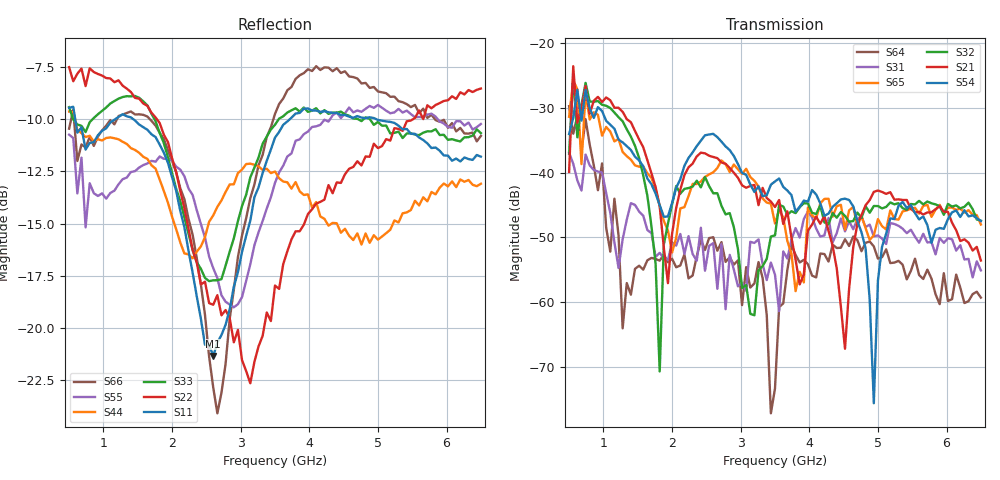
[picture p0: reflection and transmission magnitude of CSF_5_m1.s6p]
!Keysight Technologies,M9804A,MY58100912,A.14.10.03
!Date: Thursday, April 27, 2023 10:28:33
!Correction: S11(C  6-Port  )
!S12(C  6-Port  )
!S13(C  6-Port  )
!S14(C  6-Port  )
!S15(C  6-Port  )
!S16(C  6-Port  )
!S21(C  6-Port  )
!S22(C  6-Port  )
!S23(C  6-Port  )
!S24(C  6-Port  )
!S25(C  6-Port  )
!S26(C  6-Port  )
!S31(C  6-Port  )
!S32(C  6-Port  )
!S33(C  6-Port  )
!S34(C  6-Port  )
!S35(C  6-Port  )
!S36(C  6-Port  )
!S41(C  6-Port  )
!S42(C  6-Port  )
!S43(C  6-Port  )
!S44(C  6-Port  )
!S45(C  6-Port  )
!S46(C  6-Port  )
!S51(C  6-Port  )
!S52(C  6-Port  )
!S53(C  6-Port  )
!S54(C  6-Port  )
!S55(C  6-Port  )
!S56(C  6-Port  )
!S61(C  6-Port  )
!S62(C  6-Port  )
!S63(C  6-Port  )
!S64(C  6-Port  )
!S65(C  6-Port  )
!S66(C  6-Port  )
!S6P File: Measurement: :
# Hz S  RI  R 50
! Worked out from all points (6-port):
!   101 points, 500 MHz to 6.5 GHz, reference 50 ohm
!   strongest paths, dB at 500 MHz, 2 GHz, 3.5 GHz, 5 GHz, 6.5 GHz:
!     S54: -34.1, -44.7, -41.4, -56.6, -47.5
!     S21: -39.9, -49.5, -45.3, -42.8, -53.6
!     S32: -37.1, -44.9, -49.7, -45.2, -47.4
!     S65: -31.4, -52.3, -47.9, -47.2, -48.0
!     S31: -36.9, -50.8, -55.8, -49.7, -55.1
!     S64: -29.8, -53.3, -73.3, -53.3, -59.3
!   lowest |S11| = -21.4 dB at 2.6 GHz (marker M1), VSWR 1.19, Z = 42.4 + j2.2 ohm
!   |S11| at or under -10 dB: 589.2 MHz to 1.167 GHz (577.6 MHz wide, 65.8 % of centre); 1.438 GHz to 3.714 GHz (2.275 GHz wide, 88.3 % of centre); 4.98 GHz to end of sweep
